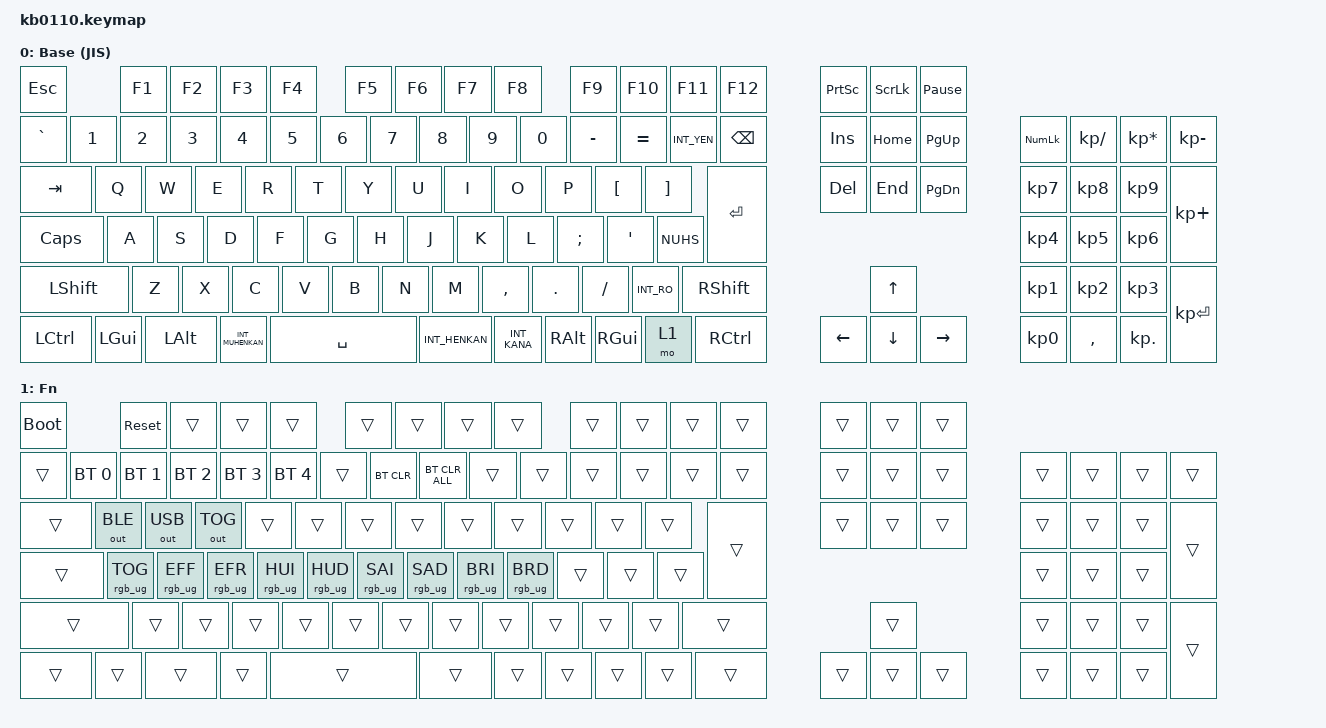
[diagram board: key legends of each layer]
/*
 * KB0110 (Atelier La Luna) default keymap
 * キー位置の並びは vial.json の layouts.keymap の出現順 (物理配置の行ごと、左→右) と同じです。
 * vial row 0-5 = 左ブロック / row 6-11 = 右ブロック (同じ16ピンを逆向きダイオードで共有)
 */

#include <behaviors.dtsi>
#include <dt-bindings/zmk/keys.h>
#include <dt-bindings/zmk/bt.h>
#include <dt-bindings/zmk/outputs.h>
#include <dt-bindings/zmk/rgb.h>

/ {
    macros {
        // テンキーの「00」キー
        kp00: kp00 {
            compatible = "zmk,behavior-macro";
            #binding-cells = <0>;
            bindings = <&macro_tap &kp KP_N0 &kp KP_N0>;
        };
    };

    keymap {
        compatible = "zmk,keymap";

        default_layer {
            display-name = "Base (JIS)";
            bindings = <
                &kp ESC            &kp F1             &kp F2             &kp F3             &kp F4             &kp F5             &kp F6             &kp F7             &kp F8             &kp F9             &kp F10            &kp F11            &kp F12            &kp PSCRN          &kp SLCK           &kp PAUSE_BREAK
                &kp GRAVE          &kp N1             &kp N2             &kp N3             &kp N4             &kp N5             &kp N6             &kp N7             &kp N8             &kp N9             &kp N0             &kp MINUS          &kp EQUAL          &kp INT_YEN        &kp BSPC           &kp INS            &kp HOME           &kp PG_UP          &kp KP_NUMLOCK     &kp KP_DIVIDE      &kp KP_MULTIPLY    &kp KP_MINUS
                &kp TAB            &kp Q              &kp W              &kp E              &kp R              &kp T              &kp Y              &kp U              &kp I              &kp O              &kp P              &kp LBKT           &kp RBKT           &kp RET            &kp DEL            &kp END            &kp PG_DN          &kp KP_N7          &kp KP_N8          &kp KP_N9          &kp KP_PLUS
                &kp CAPS           &kp A              &kp S              &kp D              &kp F              &kp G              &kp H              &kp J              &kp K              &kp L              &kp SEMI           &kp SQT            &kp NUHS           &kp KP_N4          &kp KP_N5          &kp KP_N6
                &kp LSHFT          &kp Z              &kp X              &kp C              &kp V              &kp B              &kp N              &kp M              &kp COMMA          &kp DOT            &kp FSLH           &kp INT_RO         &kp RSHFT          &kp UP             &kp KP_N1          &kp KP_N2          &kp KP_N3          &kp KP_ENTER
                &kp LCTRL          &kp LGUI           &kp LALT           &kp INT_MUHENKAN   &kp SPACE          &kp INT_HENKAN     &kp INT_KANA       &kp RALT           &kp RGUI           &mo 1              &kp RCTRL          &kp LEFT           &kp DOWN           &kp RIGHT          &kp KP_N0          &kp COMMA          &kp KP_DOT
            >;
        };

        fn_layer {
            display-name = "Fn";
            bindings = <
                &bootloader        &sys_reset         &trans             &trans             &trans             &trans             &trans             &trans             &trans             &trans             &trans             &trans             &trans             &trans             &trans             &trans
                &trans             &bt BT_SEL 0       &bt BT_SEL 1       &bt BT_SEL 2       &bt BT_SEL 3       &bt BT_SEL 4       &trans             &bt BT_CLR         &bt BT_CLR_ALL     &trans             &trans             &trans             &trans             &trans             &trans             &trans             &trans             &trans             &trans             &trans             &trans             &trans
                &trans             &out OUT_BLE       &out OUT_USB       &out OUT_TOG       &trans             &trans             &trans             &trans             &trans             &trans             &trans             &trans             &trans             &trans             &trans             &trans             &trans             &trans             &trans             &trans             &trans
                &trans             &rgb_ug RGB_TOG    &rgb_ug RGB_EFF    &rgb_ug RGB_EFR    &rgb_ug RGB_HUI    &rgb_ug RGB_HUD    &rgb_ug RGB_SAI    &rgb_ug RGB_SAD    &rgb_ug RGB_BRI    &rgb_ug RGB_BRD    &trans             &trans             &trans             &trans             &trans             &trans
                &trans             &trans             &trans             &trans             &trans             &trans             &trans             &trans             &trans             &trans             &trans             &trans             &trans             &trans             &trans             &trans             &trans             &trans
                &trans             &trans             &trans             &trans             &trans             &trans             &trans             &trans             &trans             &trans             &trans             &trans             &trans             &trans             &trans             &trans             &trans
            >;
        };
    };
};
